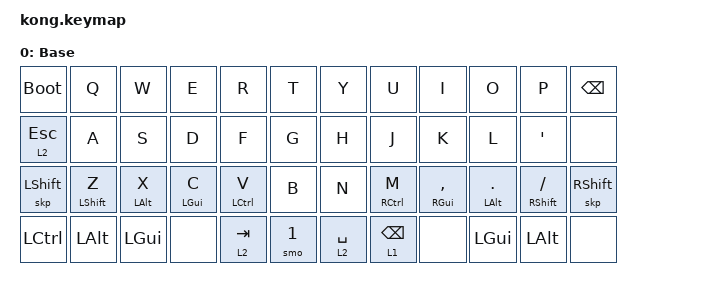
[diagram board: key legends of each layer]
/*
 * Copyright (c) 2023 sporkus
 *
 * SPDX-License-Identifier: MIT
 */

#include <behaviors.dtsi>
#include <dt-bindings/zmk/keys.h>

&lt {
    quick_tap_ms = <200>;
    flavor = "balanced";
};

/ {
    behaviors {
        hm: homerow_mods {
            compatible = "zmk,behavior-hold-tap";
            label = "homerow mods";
            #binding-cells = <2>;
            global-quick-tap-ms = <80>;
            quick-tap-ms = <250>;
            flavor = "balanced";
            bindings =
                <&kp>,
                <&kp>;

            tapping-term-ms = <200>;
            hold-trigger-on-release;
        };
        sft_t: sft_t {
            compatible = "zmk,behavior-hold-tap";
            label = "SFT_T";
            bindings =
                <&skp>,
                <&kp>;

            #binding-cells = <2>;
            tapping-term-ms = <200>;
            quick-tap-ms = <200>;
            hold-trigger-on-release;
            flavor = "hold-preferred";
        };
        skp: skp {
            compatible = "zmk,behavior-sticky-key";
            label = "SKP";
            bindings = <&kp>;
            #binding-cells = <1>;
            quick-release;
            release-after-ms = <300>;
            ignore-modifiers;
        };
        smo: smo {
            compatible = "zmk,behavior-sticky-key";
            label = "Sticky layer";
            bindings = <&mo>;
            #binding-cells = <1>;
            quick-release;
            release-after-ms = <300>;
            ignore-modifiers;
        };
        lp: lp {
            compatible = "zmk,behavior-hold-tap";
            label = "(hold, tap)";
            bindings =
                <&kp>,
                <&kp>;

            #binding-cells = <2>;
            tapping-term-ms = <180>;
            quick-tap-ms = <250>;
            flavor = "tap-preferred";
        };

        // Alt+Tab swapper, requires PR #1366

        alt_tab: alt_tab {
            compatible = "zmk,behavior-tri-state";
            label = "ALT_TAB";
            bindings =
                <&kt LALT>,
                <&kp TAB>,
                <&kt LALT>;

            #binding-cells = <0>;
        };

        // Gui+Tab swapper, requires PR #1366

        gui_tab: gui_tab {
            compatible = "zmk,behavior-tri-state";
            label = "GUI_TAB";
            bindings =
                <&kt LGUI>,
                <&kp TAB>,
                <&kt LGUI>;

            #binding-cells = <0>;
        };
        nav_spc: nav_spc {
            compatible = "zmk,behavior-hold-tap";
            label = "NAV_SPC";
            bindings =
                <&mo>,
                <&spc_morph>;

            global-quick-tap-ms = <50>;
            #binding-cells = <2>;
            quick-tap-ms = <220>;
            tapping-term-ms = <150>;
            hold-trigger-key-positions = <19 20 21 22 8 9 13 1>;
        };
        spc_morph: spc_morph {
            compatible = "zmk,behavior-mod-morph";
            label = "SPC_MORPH";
            bindings =
                <&kp SPACE>,
                <&space_sticky_shift>;

            #binding-cells = <0>;
            mods = <(MOD_RSFT|MOD_LSFT)>;
        };
        brc_morph: brc_morph {
            compatible = "zmk,behavior-mod-morph";
            label = "BRC_MORPH";
            bindings =
                <&kp RBRC>,
                <&kp LBRC>;

            #binding-cells = <0>;
            mods = <(MOD_RSFT|MOD_LSFT)>;
        };
        par_morph: par_morph {
            compatible = "zmk,behavior-mod-morph";
            label = "par_morph";
            bindings =
                <&kp RPAR>,
                <&kp LPAR>;

            #binding-cells = <0>;
            mods = <(MOD_RSFT|MOD_LSFT)>;
        };
    };

    combos {
        compatible = "zmk,combos";

        combo_enter {
            bindings = <&kp ENTER>;
            key-positions = <20 21>;
            global-quick-tap-ms = <80>;
            timeout-ms = <COMBO_FAST>;
        };

        combo_bspc {
            bindings = <&kp BSPC>;
            key-positions = <9 10>;
            global-quick-tap-ms = <80>;
        };

        combo_esc {
            bindings = <&kp ESC>;
            key-positions = <15 16>;
            global-quick-tap-ms = <80>;
        };

        combo_tab {
            bindings = <&kp TAB>;
            key-positions = <16 17>;
            global-quick-tap-ms = <80>;
        };

        combo_copypaste {
            bindings = <&lp LS(INS) LC(INS)>;
            key-positions = <28 29>;
        };

        combo_copypaste_mac {
            bindings = <&lp LG(V) LG(C)>;
            key-positions = <28 29>;
            layers = <1>;
        };

        combo_lpar {
            bindings = <&kp LPAR>;
            key-positions = <5 17>;
        };

        combo_rpar {
            bindings = <&kp RPAR>;
            key-positions = <8 20>;
        };

        combo_lt {
            bindings = <&kp LT>;
            key-positions = <6 18>;
        };

        combo_gt {
            bindings = <&kp GT>;
            key-positions = <7 19>;
        };

        combo_adj {
            bindings = <&trans>;
            key-positions = <40 43>;
        };
    };

    macros {
        bt0_mac: bt0_mac {
            compatible = "zmk,behavior-macro";
            label = "BT0_MAC";
            #binding-cells = <0>;
            bindings = <&bt BT_SEL 0 &tog 0>;
        };
        bt1_win: bt1_win {
            compatible = "zmk,behavior-macro";
            label = "BT1_WIN";
            #binding-cells = <0>;
            bindings = <&bt BT_SEL 1 &to 0>;
        };
    };

    keymap {
        compatible = "zmk,keymap";

        BASE {
            label = " Base";
            bindings = <
   &bootloader           &kp Q       &kp W       &kp E        &kp R   &kp T        &kp Y        &kp U           &kp I         &kp O               &kp P    &kp BSPC
 &lt 2 ESC           &kp A       &kp S       &kp D        &kp F   &kp G        &kp H        &kp J           &kp K         &kp L    &kp SINGLE_QUOTE       &none
&skp LSHFT  &sft_t LSHFT Z  &hm LALT X  &hm LGUI C  &hm LCTRL V   &kp B        &kp N  &hm RCTRL M  &hm RGUI COMMA  &hm LALT DOT  &sft_t RSHFT SLASH  &skp RSHFT
 &kp LCTRL        &kp LALT    &kp LGUI       &none       &lt 2 TAB    &smo 1  &lt 2 SPACE  &lt 1 BSPC       &none         &kp LGUI            &kp LALT       &none
            >;
        };
    };
};
